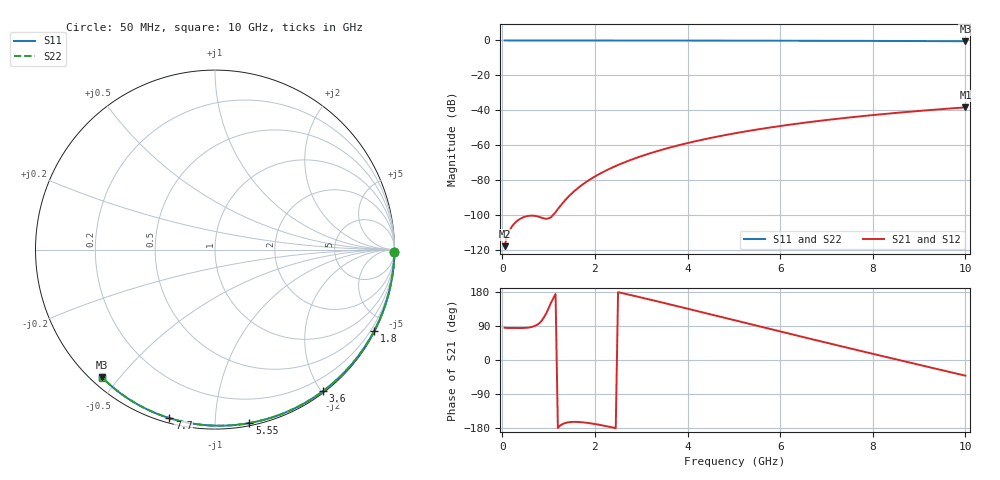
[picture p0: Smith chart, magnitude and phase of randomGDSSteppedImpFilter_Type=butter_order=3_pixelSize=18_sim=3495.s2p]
! freq	dB(S11)	phase(S11)	dB(S12)	phase(S12)
!  dB(S21)	phase(S21)	dB(S22)	phase(S22)
!S-par simulation data
#  GHz  S  DB  R 50
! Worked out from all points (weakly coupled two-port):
!   200 points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, 50 MHz to 10 GHz, reference 50 ohm
!   highest |S21| = -38.39 dB at 10 GHz (marker M1); lowest = -118.0 dB at 50 MHz (marker M2)
!   lowest |S11| = -0.4 dB at 10 GHz (marker M3), VSWR 39.05, Z = 1.54 - j22.5 ohm
!   |S11| at or under -10 dB: nowhere
!   |S22| runs from -0.4 to 0.0 dB; largest |S21 - S12| = 0
!   S11 on the Smith chart (normalised r, x): 50 MHz: open; 1.8 GHz: 0.04, -4.17; 3.6 GHz: 0.02, -2.02; 5.55 GHz: 0.02, -1.22; 7.7 GHz: 0.02, -0.76; 10 GHz: 0.03, -0.45
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0.05  -0.00 -0.8  -118.01 85.2  -118.01 85.2  -0.00 -0.8
0.9  -0.02 -13.6  -102.09 112.7  -102.09 112.7  -0.02 -13.6
1.75  -0.03 -26.2  -82.32 -164.6  -82.32 -164.6  -0.03 -26.2
1.8  -0.03 -27.0  -81.38 -165.3  -81.38 -165.3  -0.03 -26.9
1.85  -0.04 -27.7  -80.50 -166.1  -80.50 -166.1  -0.04 -27.6
1.9  -0.04 -28.4  -79.64 -167.0  -79.64 -167.0  -0.04 -28.4
2.05  -0.04 -30.6  -77.27 -170.0  -77.27 -170.0  -0.04 -30.6
2.25  -0.04 -33.5  -74.48 -174.7  -74.48 -174.7  -0.04 -33.5
2.45  -0.05 -36.4  -72.01 -179.8  -72.01 -179.8  -0.05 -36.4
2.65  -0.05 -39.3  -69.79 174.8  -69.79 174.8  -0.05 -39.2
3  -0.06 -44.3  -66.38 164.9  -66.38 164.9  -0.06 -44.2
3.4  -0.07 -49.9  -63.05 153.3  -63.05 153.3  -0.07 -49.8
3.6  -0.07 -52.7  -61.56 147.3  -61.56 147.3  -0.07 -52.6
4.3  -0.09 -62.3  -57.05 126.4  -57.05 126.4  -0.09 -62.2
5.05  -0.11 -72.3  -53.12 103.8  -53.12 103.8  -0.11 -72.1
5.55  -0.13 -78.8  -50.89 88.8  -50.89 88.8  -0.13 -78.6
6.1  -0.15 -85.7  -48.71 72.3  -48.71 72.3  -0.15 -85.6
6.7  -0.18 -93.1  -46.61 54.5  -46.61 54.5  -0.18 -93.0
7.7  -0.24 -105.2  -43.60 25.0  -43.60 25.0  -0.24 -105.0
8.35  -0.29 -112.8  -41.93 6.1  -41.93 6.1  -0.29 -112.6
9.15  -0.36 -121.9  -40.09 -16.9  -40.09 -16.9  -0.36 -121.7
10  -0.45 -131.5  -38.39 -41.4  -38.39 -41.4  -0.44 -131.3
